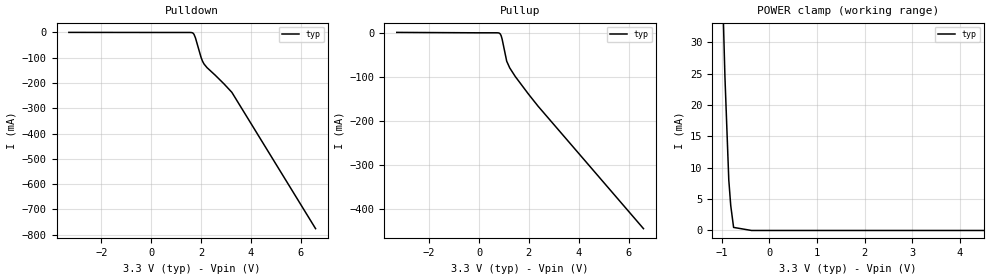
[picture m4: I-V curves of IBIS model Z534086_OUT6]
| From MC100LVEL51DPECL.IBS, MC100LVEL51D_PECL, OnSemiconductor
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| (C) COPYRIGHT 1993-2000
| MENTOR GRAPHICS CORPORATION
| ICX STANDARD LIBRARY, ICX PROJECT MODELING,
| ICX CUSTOM MODELING, ICX VENDOR MODEL
| ALL RIGHTS RESERVED.
| THE FOLLOWING ARE TRADEMARKS OR SERVICE MARKS OF
| MENTOR GRAPHICS CORPORATION:ICX (R), ICX STANDARD
| LIBRARY(R), ICX PROJECT MODELING(R), ICX CUSTOM
| MODELING(R), qualityIBIS(TM), MODELVIEWER(TM),
| AND MODELEDITOR(TM)
| ALL COPIES OF SOFTWARE, INCLUDING BUT NOT LIMITED TO
| ANY MODIFICATIONS, ENHANCEMENTS OR DERIVATIVE WORKS,
| MUST CONTAIN ALL MENTOR GRAPHICS CORPORATION'S
| NOTICES AND LEGENDS, INCLUDING THOSE EMBEDDED IN
| SOFTWARE AND THOSE AFFIXED TO SOFTWARE MEDIUM
| AND CONTAINER, AS RECEIVED FROM MENTOR GRAPHICS
| CORPORATION.
| Model Application Version 1.89 2/18/99.
[Model] Z534086_OUT6
Model_type Output_ECL
Vref=1.300V
Rref=50.00ohms
Cref=0.000F
Vmeas=2.207V
C_comp 8.000pF NA NA
| variable typ   min   max
[Voltage Range] 3.300V NA NA
[POWER Clamp Reference] 3.300V NA NA
[Pullup Reference] 3.300V NA NA
[Pulldown Reference] 3.300V NA NA
[GND Clamp Reference] 0.000V NA NA
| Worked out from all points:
|   POWER clamp passes 1 mA (typ) near -0.76 V on its own axis
[GND Clamp]
-3.3V     0A         NA         NA
6.6V      0A         NA         NA
[Pulldown]
-3.3V     327.9uA    NA         NA
1.557V    0A         NA         NA
1.679V    -2.4mA     NA         NA
1.72V     -7mA       NA         NA
1.78V     -21.5mA    NA         NA
2.003V    -98.1mA    NA         NA
2.064V    -113.9mA   NA         NA
2.125V    -125mA     NA         NA
3.24V     -236.9mA   NA         NA
6.6V      -776.7mA   NA         NA
[Pullup]
-3.3V     919.1uA    NA         NA
726mV     0A         NA         NA
848mV     -2.3mA     NA         NA
889mV     -6.7mA     NA         NA
929mV     -14.8mA    NA         NA
1.111V    -64.5mA    NA         NA
1.233V    -79.7mA    NA         NA
1.456V    -99.3mA    NA         NA
2.368V    -166.4mA   NA         NA
6.6V      -444.4mA   NA         NA
[POWER Clamp]
-3.3V     1.142A     NA         NA
-1.179V   124.5mA    NA         NA
-1.138V   88.98mA    NA         NA
-1.078V   63.7mA     NA         NA
-936mV    24.54mA    NA         NA
-855mV    8.061mA    NA         NA
-814mV    3.972mA    NA         NA
-754mV    488.6uA    NA         NA
-377mV    0A         NA         NA
6.6V      0A         NA         NA
[Ramp]
| variable typ min max
dV/dt_r 399.8m/151.1p NA NA
dV/dt_f 399.8m/109.8p NA NA
R_load = 50.00Ohms
